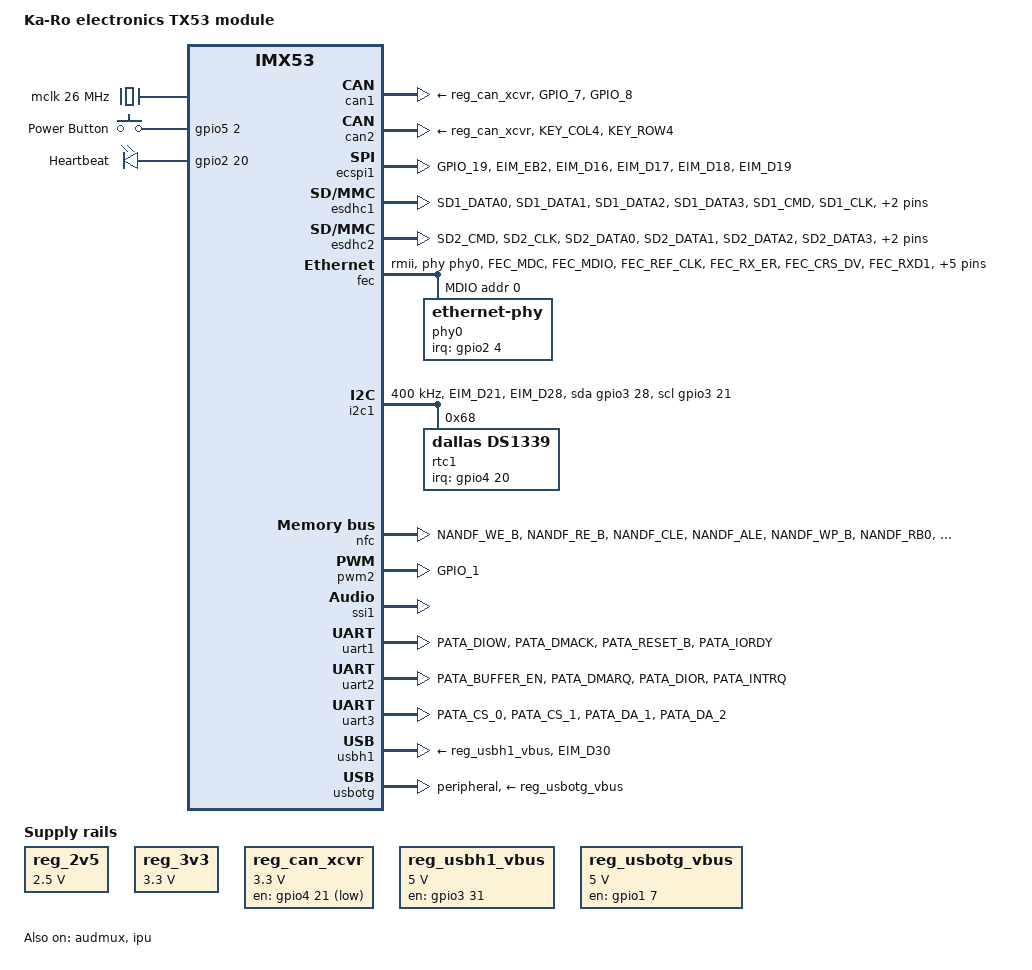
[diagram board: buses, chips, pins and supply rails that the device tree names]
/*
 * Copyright 2012-2017 <LW@KARO-electronics.de>
 * based on imx53-qsb.dts
 *   Copyright 2011 Freescale Semiconductor, Inc.
 *   Copyright 2011 Linaro Ltd.
 *
 * This file is dual-licensed: you can use it either under the terms
 * of the GPL or the X11 license, at your option. Note that this dual
 * licensing only applies to this file, and not this project as a
 * whole.
 *
 *  a) This file is free software; you can redistribute it and/or
 *     modify it under the terms of the GNU General Public License
 *     version 2 as published by the Free Software Foundation.
 *
 *     This file is distributed in the hope that it will be useful,
 *     but WITHOUT ANY WARRANTY; without even the implied warranty of
 *     MERCHANTABILITY or FITNESS FOR A PARTICULAR PURPOSE.  See the
 *     GNU General Public License for more details.
 *
 * Or, alternatively,
 *
 *  b) Permission is hereby granted, free of charge, to any person
 *     obtaining a copy of this software and associated documentation
 *     files (the "Software"), to deal in the Software without
 *     restriction, including without limitation the rights to use,
 *     copy, modify, merge, publish, distribute, sublicense, and/or
 *     sell copies of the Software, and to permit persons to whom the
 *     Software is furnished to do so, subject to the following
 *     conditions:
 *
 *     The above copyright notice and this permission notice shall be
 *     included in all copies or substantial portions of the Software.
 *
 *     THE SOFTWARE IS PROVIDED "AS IS", WITHOUT WARRANTY OF ANY KIND,
 *     EXPRESS OR IMPLIED, INCLUDING BUT NOT LIMITED TO THE WARRANTIES
 *     OF MERCHANTABILITY, FITNESS FOR A PARTICULAR PURPOSE AND
 *     NONINFRINGEMENT. IN NO EVENT SHALL THE AUTHORS OR COPYRIGHT
 *     HOLDERS BE LIABLE FOR ANY CLAIM, DAMAGES OR OTHER LIABILITY,
 *     WHETHER IN AN ACTION OF CONTRACT, TORT OR OTHERWISE, ARISING
 *     FROM, OUT OF OR IN CONNECTION WITH THE SOFTWARE OR THE USE OR
 *     OTHER DEALINGS IN THE SOFTWARE.
 */

#include "imx53.dtsi"
#include <dt-bindings/gpio/gpio.h>

/ {
	model = "Ka-Ro electronics TX53 module";
	compatible = "karo,tx53", "fsl,imx53";

	/* Will be filled by the bootloader */
	memory@70000000 {
		device_type = "memory";
		reg = <0x70000000 0>;
	};

	aliases {
		can0 = &can2; /* Make the can interface indices consistent with TX28/TX48 modules */
		can1 = &can1;
		ipu = &ipu;
		reg-can-xcvr = &reg_can_xcvr;
		usbh1 = &usbh1;
		usbotg = &usbotg;
	};

	clocks {
		ckih1 {
			clock-frequency = <0>;
		};
	};

	mclk: clock-mclk {
		compatible = "fixed-clock";
		#clock-cells = <0>;
		clock-frequency = <26000000>;
	};

	gpio-keys {
		compatible = "gpio-keys";
		pinctrl-names = "default";
		pinctrl-0 = <&pinctrl_gpio_key>;

		key-power {
			label = "Power Button";
			gpios = <&gpio5 2 GPIO_ACTIVE_HIGH>;
			linux,code = <116>; /* KEY_POWER */
			wakeup-source;
		};
	};

	leds {
		compatible = "gpio-leds";
		pinctrl-names = "default";
		pinctrl-0 = <&pinctrl_stk5led>;

		led-user {
			label = "Heartbeat";
			gpios = <&gpio2 20 GPIO_ACTIVE_HIGH>;
			linux,default-trigger = "heartbeat";
		};
	};

	reg_2v5: regulator-2v5 {
		compatible = "regulator-fixed";
		regulator-name = "2V5";
		regulator-min-microvolt = <2500000>;
		regulator-max-microvolt = <2500000>;
	};

	reg_3v3: regulator-3v3 {
		compatible = "regulator-fixed";
		regulator-name = "3V3";
		regulator-min-microvolt = <3300000>;
		regulator-max-microvolt = <3300000>;
	};

	reg_can_xcvr: regulator-can-xcvr {
		compatible = "regulator-fixed";
		regulator-name = "CAN XCVR";
		regulator-min-microvolt = <3300000>;
		regulator-max-microvolt = <3300000>;
		pinctrl-names = "default";
		pinctrl-0 = <&pinctrl_can_xcvr>;
		gpio = <&gpio4 21 GPIO_ACTIVE_HIGH>;
	};

	reg_usbh1_vbus: regulator-usbh1-vbus {
		compatible = "regulator-fixed";
		regulator-name = "usbh1_vbus";
		regulator-min-microvolt = <5000000>;
		regulator-max-microvolt = <5000000>;
		pinctrl-names = "default";
		pinctrl-0 = <&pinctrl_usbh1_vbus>;
		gpio = <&gpio3 31 GPIO_ACTIVE_HIGH>;
		enable-active-high;
	};

	reg_usbotg_vbus: regulator-usbotg-vbus {
		compatible = "regulator-fixed";
		regulator-name = "usbotg_vbus";
		regulator-min-microvolt = <5000000>;
		regulator-max-microvolt = <5000000>;
		pinctrl-names = "default";
		pinctrl-0 = <&pinctrl_usbotg_vbus>;
		gpio = <&gpio1 7 GPIO_ACTIVE_HIGH>;
		enable-active-high;
	};

	sound {
		compatible = "karo,tx53-audio-sgtl5000", "fsl,imx-audio-sgtl5000";
		model = "tx53-audio-sgtl5000";
		ssi-controller = <&ssi1>;
		audio-codec = <&sgtl5000>;
		audio-routing =
			"MIC_IN", "Mic Jack",
			"Mic Jack", "Mic Bias",
			"Headphone Jack", "HP_OUT";
		/* '1' based port numbers according to datasheet names */
		mux-int-port = <1>;
		mux-ext-port = <5>;
	};
};

&audmux {
	pinctrl-names = "default";
	pinctrl-0 = <&pinctrl_ssi1>;
	status = "okay";
};

&can1 {
	pinctrl-names = "default";
	pinctrl-0 = <&pinctrl_can1>;
	xceiver-supply = <&reg_can_xcvr>;
	status = "okay";
};

&can2 {
	pinctrl-names = "default";
	pinctrl-0 = <&pinctrl_can2>;
	xceiver-supply = <&reg_can_xcvr>;
	status = "okay";
};

&ecspi1 {
	pinctrl-names = "default";
	pinctrl-0 = <&pinctrl_ecspi1>;
	status = "okay";

	cs-gpios = <
		&gpio2 30 GPIO_ACTIVE_HIGH
		&gpio3 19 GPIO_ACTIVE_HIGH
	>;

};

&esdhc1 {
	cd-gpios = <&gpio3 24 GPIO_ACTIVE_LOW>;
	fsl,wp-controller;
	pinctrl-names = "default";
	pinctrl-0 = <&pinctrl_esdhc1>;
	status = "okay";
};

&esdhc2 {
	cd-gpios = <&gpio3 25 GPIO_ACTIVE_LOW>;
	fsl,wp-controller;
	pinctrl-names = "default";
	pinctrl-0 = <&pinctrl_esdhc2>;
	status = "okay";
};

&fec {
	pinctrl-names = "default";
	pinctrl-0 = <&pinctrl_fec>;
	phy-mode = "rmii";
	phy-reset-gpios = <&gpio7 6 GPIO_ACTIVE_LOW>;
	phy-handle = <&phy0>;
	mac-address = [000000000000]; /* placeholder; will be overwritten by bootloader */
	status = "okay";

	mdio {
		#address-cells = <1>;
		#size-cells = <0>;

		phy0: ethernet-phy@0 {
			reg = <0>;
			interrupt-parent = <&gpio2>;
			interrupts = <4 IRQ_TYPE_EDGE_FALLING>;
			device_type = "ethernet-phy";
		};
	};
};

&i2c1 {
	pinctrl-names = "default", "gpio";
	pinctrl-0 = <&pinctrl_i2c1>;
	pinctrl-0 = <&pinctrl_i2c1_gpio>;
	scl-gpios = <&gpio3 21 GPIO_ACTIVE_HIGH>;
	sda-gpios = <&gpio3 28 GPIO_ACTIVE_HIGH>;
	clock-frequency = <400000>;
	status = "okay";

	rtc1: rtc@68 {
		compatible = "dallas,ds1339";
		reg = <0x68>;
		pinctrl-names = "default";
		pinctrl-0 = <&pinctrl_ds1339>;
		interrupt-parent = <&gpio4>;
		interrupts = <20 IRQ_TYPE_EDGE_FALLING>;
		trickle-resistor-ohms = <250>;
		trickle-diode-disable;
	};
};

&iomuxc {
	pinctrl-names = "default";
	pinctrl-0 = <&pinctrl_hog>;

	imx53-tx53 {
		pinctrl_hog: hoggrp {
			/* pins not in use by any device on the Starterkit board series */
			fsl,pins = <
				/* CMOS Sensor Interface */
				MX53_PAD_CSI0_DAT12__GPIO5_30 0x1f4
				MX53_PAD_CSI0_DAT13__GPIO5_31 0x1f4
				MX53_PAD_CSI0_DAT14__GPIO6_0 0x1f4
				MX53_PAD_CSI0_DAT15__GPIO6_1 0x1f4
				MX53_PAD_CSI0_DAT16__GPIO6_2 0x1f4
				MX53_PAD_CSI0_DAT17__GPIO6_3 0x1f4
				MX53_PAD_CSI0_DAT18__GPIO6_4 0x1f4
				MX53_PAD_CSI0_DAT19__GPIO6_5 0x1f4
				MX53_PAD_CSI0_MCLK__GPIO5_19 0x1f4
				MX53_PAD_CSI0_VSYNC__GPIO5_21 0x1f4
				MX53_PAD_CSI0_PIXCLK__GPIO5_18 0x1f4
				MX53_PAD_GPIO_0__GPIO1_0 0x1f4
				/* Module Specific Signal */
				/* MX53_PAD_NANDF_CS2__GPIO6_15 0x1f4 maybe used by EDT-FT5x06 */
				/* MX53_PAD_EIM_A16__GPIO2_22 0x1f4 maybe used by EDT-FT5x06 */
				MX53_PAD_EIM_D29__GPIO3_29 0x1f4
				MX53_PAD_EIM_EB3__GPIO2_31 0x1f4
				/* MX53_PAD_EIM_A17__GPIO2_21 0x1f4 maybe used by EDT-FT5x06 */
				/* MX53_PAD_EIM_A18__GPIO2_20 0x1f4 used by LED */
				MX53_PAD_EIM_A19__GPIO2_19 0x1f4
				MX53_PAD_EIM_A20__GPIO2_18 0x1f4
				MX53_PAD_EIM_A21__GPIO2_17 0x1f4
				MX53_PAD_EIM_A22__GPIO2_16 0x1f4
				MX53_PAD_EIM_A23__GPIO6_6 0x1f4
				MX53_PAD_EIM_A24__GPIO5_4 0x1f4
				MX53_PAD_CSI0_DAT8__GPIO5_26 0x1f4
				MX53_PAD_CSI0_DAT9__GPIO5_27 0x1f4
				MX53_PAD_CSI0_DAT10__GPIO5_28 0x1f4
				MX53_PAD_CSI0_DAT11__GPIO5_29 0x1f4
				/* MX53_PAD_EIM_D22__GPIO3_22 0x1f4 maybe used by EETI touchpanel driver */
				/* MX53_PAD_EIM_D23__GPIO3_23 0x1f4 maybe used by EETI touchpanel driver */
				MX53_PAD_GPIO_13__GPIO4_3 0x1f4
				MX53_PAD_EIM_CS0__GPIO2_23 0x1f4
				MX53_PAD_EIM_CS1__GPIO2_24 0x1f4
				MX53_PAD_CSI0_DATA_EN__GPIO5_20 0x1f4
				MX53_PAD_EIM_WAIT__GPIO5_0 0x1f4
				MX53_PAD_EIM_EB0__GPIO2_28 0x1f4
				MX53_PAD_EIM_EB1__GPIO2_29 0x1f4
				MX53_PAD_EIM_OE__GPIO2_25 0x1f4
				MX53_PAD_EIM_LBA__GPIO2_27 0x1f4
				MX53_PAD_EIM_RW__GPIO2_26 0x1f4
				MX53_PAD_EIM_DA8__GPIO3_8 0x1f4
				MX53_PAD_EIM_DA9__GPIO3_9 0x1f4
				MX53_PAD_EIM_DA10__GPIO3_10 0x1f4
				MX53_PAD_EIM_DA11__GPIO3_11 0x1f4
				MX53_PAD_EIM_DA12__GPIO3_12 0x1f4
				MX53_PAD_EIM_DA13__GPIO3_13 0x1f4
				MX53_PAD_EIM_DA14__GPIO3_14 0x1f4
				MX53_PAD_EIM_DA15__GPIO3_15 0x1f4
				>;
		};

		pinctrl_can1: can1grp {
			fsl,pins = <
				MX53_PAD_GPIO_7__CAN1_TXCAN		0x80000000
				MX53_PAD_GPIO_8__CAN1_RXCAN		0x80000000
			>;
		};

		pinctrl_can2: can2grp {
			fsl,pins = <
				MX53_PAD_KEY_COL4__CAN2_TXCAN		0x80000000
				MX53_PAD_KEY_ROW4__CAN2_RXCAN		0x80000000
			>;
		};

		pinctrl_can_xcvr: can-xcvrgrp {
			fsl,pins = <MX53_PAD_DISP0_DAT0__GPIO4_21 0xe0>; /* Flexcan XCVR enable */
		};

		pinctrl_ds1339: ds1339grp {
			fsl,pins = <MX53_PAD_DI0_PIN4__GPIO4_20 0xe0>;
		};

		pinctrl_ecspi1: ecspi1grp {
			fsl,pins = <
				MX53_PAD_GPIO_19__ECSPI1_RDY		0x80000000
				MX53_PAD_EIM_EB2__ECSPI1_SS0		0x80000000
				MX53_PAD_EIM_D16__ECSPI1_SCLK		0x80000000
				MX53_PAD_EIM_D17__ECSPI1_MISO		0x80000000
				MX53_PAD_EIM_D18__ECSPI1_MOSI		0x80000000
				MX53_PAD_EIM_D19__ECSPI1_SS1		0x80000000
			>;
		};

		pinctrl_esdhc1: esdhc1grp {
			fsl,pins = <
				MX53_PAD_SD1_DATA0__ESDHC1_DAT0		0x1d5
				MX53_PAD_SD1_DATA1__ESDHC1_DAT1		0x1d5
				MX53_PAD_SD1_DATA2__ESDHC1_DAT2		0x1d5
				MX53_PAD_SD1_DATA3__ESDHC1_DAT3		0x1d5
				MX53_PAD_SD1_CMD__ESDHC1_CMD		0x1d5
				MX53_PAD_SD1_CLK__ESDHC1_CLK		0x1d5
				MX53_PAD_EIM_D24__GPIO3_24 0x1f0
			>;
		};

		pinctrl_esdhc2: esdhc2grp {
			fsl,pins = <
				MX53_PAD_SD2_CMD__ESDHC2_CMD		0x1d5
				MX53_PAD_SD2_CLK__ESDHC2_CLK		0x1d5
				MX53_PAD_SD2_DATA0__ESDHC2_DAT0		0x1d5
				MX53_PAD_SD2_DATA1__ESDHC2_DAT1		0x1d5
				MX53_PAD_SD2_DATA2__ESDHC2_DAT2		0x1d5
				MX53_PAD_SD2_DATA3__ESDHC2_DAT3		0x1d5
				MX53_PAD_EIM_D25__GPIO3_25 0x1f0
			>;
		};

		pinctrl_fec: fecgrp {
			fsl,pins = <
				MX53_PAD_FEC_MDC__FEC_MDC		0x80000000
				MX53_PAD_FEC_MDIO__FEC_MDIO		0x80000000
				MX53_PAD_FEC_REF_CLK__FEC_TX_CLK	0x80000000
				MX53_PAD_FEC_RX_ER__FEC_RX_ER		0x80000000
				MX53_PAD_FEC_CRS_DV__FEC_RX_DV		0x80000000
				MX53_PAD_FEC_RXD1__FEC_RDATA_1		0x80000000
				MX53_PAD_FEC_RXD0__FEC_RDATA_0		0x80000000
				MX53_PAD_FEC_TX_EN__FEC_TX_EN		0x80000000
				MX53_PAD_FEC_TXD1__FEC_TDATA_1		0x80000000
				MX53_PAD_FEC_TXD0__FEC_TDATA_0		0x80000000
			>;
		};

		pinctrl_gpio_key: gpio-keygrp {
			fsl,pins = <MX53_PAD_EIM_A25__GPIO5_2 0x1f4>;
		};

		pinctrl_i2c1: i2c1grp {
			fsl,pins = <
				MX53_PAD_EIM_D21__I2C1_SCL		0x400001e4
				MX53_PAD_EIM_D28__I2C1_SDA		0x400001e4
			>;
		};

		pinctrl_i2c1_gpio: i2c1-gpiogrp {
			fsl,pins = <
				MX53_PAD_EIM_D21__GPIO3_21		0x400001e6
				MX53_PAD_EIM_D28__GPIO3_28		0x400001e6
			>;
		};

		pinctrl_i2c3: i2c3grp {
			fsl,pins = <
				MX53_PAD_GPIO_3__I2C3_SCL		0x400001e4
				MX53_PAD_GPIO_6__I2C3_SDA		0x400001e4
			>;
		};

		pinctrl_i2c3_gpio: i2c3-gpiogrp {
			fsl,pins = <
				MX53_PAD_GPIO_3__GPIO1_3		0x400001e6
				MX53_PAD_GPIO_6__GPIO1_6		0x400001e6
			>;
		};

		pinctrl_nand: nandgrp {
			fsl,pins = <
				MX53_PAD_NANDF_WE_B__EMI_NANDF_WE_B	0x4
				MX53_PAD_NANDF_RE_B__EMI_NANDF_RE_B	0x4
				MX53_PAD_NANDF_CLE__EMI_NANDF_CLE	0x4
				MX53_PAD_NANDF_ALE__EMI_NANDF_ALE	0x4
				MX53_PAD_NANDF_WP_B__EMI_NANDF_WP_B	0xe0
				MX53_PAD_NANDF_RB0__EMI_NANDF_RB_0	0xe0
				MX53_PAD_NANDF_CS0__EMI_NANDF_CS_0	0x4
				MX53_PAD_EIM_DA0__EMI_NAND_WEIM_DA_0	0xa4
				MX53_PAD_EIM_DA1__EMI_NAND_WEIM_DA_1	0xa4
				MX53_PAD_EIM_DA2__EMI_NAND_WEIM_DA_2	0xa4
				MX53_PAD_EIM_DA3__EMI_NAND_WEIM_DA_3	0xa4
				MX53_PAD_EIM_DA4__EMI_NAND_WEIM_DA_4	0xa4
				MX53_PAD_EIM_DA5__EMI_NAND_WEIM_DA_5	0xa4
				MX53_PAD_EIM_DA6__EMI_NAND_WEIM_DA_6	0xa4
				MX53_PAD_EIM_DA7__EMI_NAND_WEIM_DA_7	0xa4
			>;
		};

		pinctrl_pwm2: pwm2grp {
			fsl,pins = <
				MX53_PAD_GPIO_1__PWM2_PWMO		0x80000000
			>;
		};

		pinctrl_ssi1: ssi1grp {
			fsl,pins = <
				MX53_PAD_KEY_COL0__AUDMUX_AUD5_TXC	0x80000000
				MX53_PAD_KEY_ROW0__AUDMUX_AUD5_TXD	0x80000000
				MX53_PAD_KEY_COL1__AUDMUX_AUD5_TXFS	0x80000000
				MX53_PAD_KEY_ROW1__AUDMUX_AUD5_RXD	0x80000000
			>;
		};

		pinctrl_ssi2: ssi2grp {
			fsl,pins = <
				MX53_PAD_CSI0_DAT4__AUDMUX_AUD3_TXC	0x80000000
				MX53_PAD_CSI0_DAT5__AUDMUX_AUD3_TXD	0x80000000
				MX53_PAD_CSI0_DAT6__AUDMUX_AUD3_TXFS	0x80000000
				MX53_PAD_CSI0_DAT7__AUDMUX_AUD3_RXD	0x80000000
				MX53_PAD_EIM_D27__GPIO3_27 0x1f0
			>;
		};

		pinctrl_stk5led: stk5ledgrp {
			fsl,pins = <MX53_PAD_EIM_A18__GPIO2_20 0xc0>;
		};

		pinctrl_uart1: uart1grp {
			fsl,pins = <
				MX53_PAD_PATA_DIOW__UART1_TXD_MUX	0x1e4
				MX53_PAD_PATA_DMACK__UART1_RXD_MUX	0x1e4
				MX53_PAD_PATA_RESET_B__UART1_CTS	0x1c5
				MX53_PAD_PATA_IORDY__UART1_RTS		0x1c5
			>;
		};

		pinctrl_uart2: uart2grp {
			fsl,pins = <
				MX53_PAD_PATA_BUFFER_EN__UART2_RXD_MUX	0x1c5
				MX53_PAD_PATA_DMARQ__UART2_TXD_MUX	0x1c5
				MX53_PAD_PATA_DIOR__UART2_RTS		0x1c5
				MX53_PAD_PATA_INTRQ__UART2_CTS		0x1c5
			>;
		};

		pinctrl_uart3: uart3grp {
			fsl,pins = <
				MX53_PAD_PATA_CS_0__UART3_TXD_MUX	0x1e4
				MX53_PAD_PATA_CS_1__UART3_RXD_MUX	0x1e4
				MX53_PAD_PATA_DA_1__UART3_CTS		0x1e4
				MX53_PAD_PATA_DA_2__UART3_RTS		0x1e4
			>;
		};

		pinctrl_usbh1: usbh1grp {
			fsl,pins = <
				MX53_PAD_EIM_D30__GPIO3_30 0x100 /* OC */
			>;
		};

		pinctrl_usbh1_vbus: usbh1-vbusgrp {
			fsl,pins = <
				MX53_PAD_EIM_D31__GPIO3_31 0xe0 /* VBUS ENABLE */
			>;
		};

		pinctrl_usbotg_vbus: usbotg-vbusgrp {
			fsl,pins = <
				MX53_PAD_GPIO_7__GPIO1_7 0xe0 /* VBUS ENABLE */
				MX53_PAD_GPIO_8__GPIO1_8 0x100 /* OC */
			>;
		};
	};
};

&ipu {
	status = "okay";
};

&nfc {
	pinctrl-names = "default";
	pinctrl-0 = <&pinctrl_nand>;
	nand-bus-width = <8>;
	nand-ecc-mode = "hw";
	nand-on-flash-bbt;
	status = "okay";
};

&pwm2 {
	pinctrl-names = "default";
	pinctrl-0 = <&pinctrl_pwm2>;
};

&sdma {
	fsl,sdma-ram-script-name = "sdma-imx53.bin";
};

&ssi1 {
	status = "okay";
};

&ssi2 {
	status = "disabled";
};

&uart1 {
	pinctrl-names = "default";
	pinctrl-0 = <&pinctrl_uart1>;
	uart-has-rtscts;
	status = "okay";
};

&uart2 {
	pinctrl-names = "default";
	pinctrl-0 = <&pinctrl_uart2>;
	uart-has-rtscts;
	status = "okay";
};

&uart3 {
	pinctrl-names = "default";
	pinctrl-0 = <&pinctrl_uart3>;
	uart-has-rtscts;
	status = "okay";
};

&usbh1 {
	pinctrl-names = "default";
	pinctrl-0 = <&pinctrl_usbh1>;
	phy_type = "utmi";
	disable-over-current;
	vbus-supply = <&reg_usbh1_vbus>;
	status = "okay";
};

&usbotg {
	phy_type = "utmi";
	dr_mode = "peripheral";
	disable-over-current;
	vbus-supply = <&reg_usbotg_vbus>;
	status = "okay";
};
